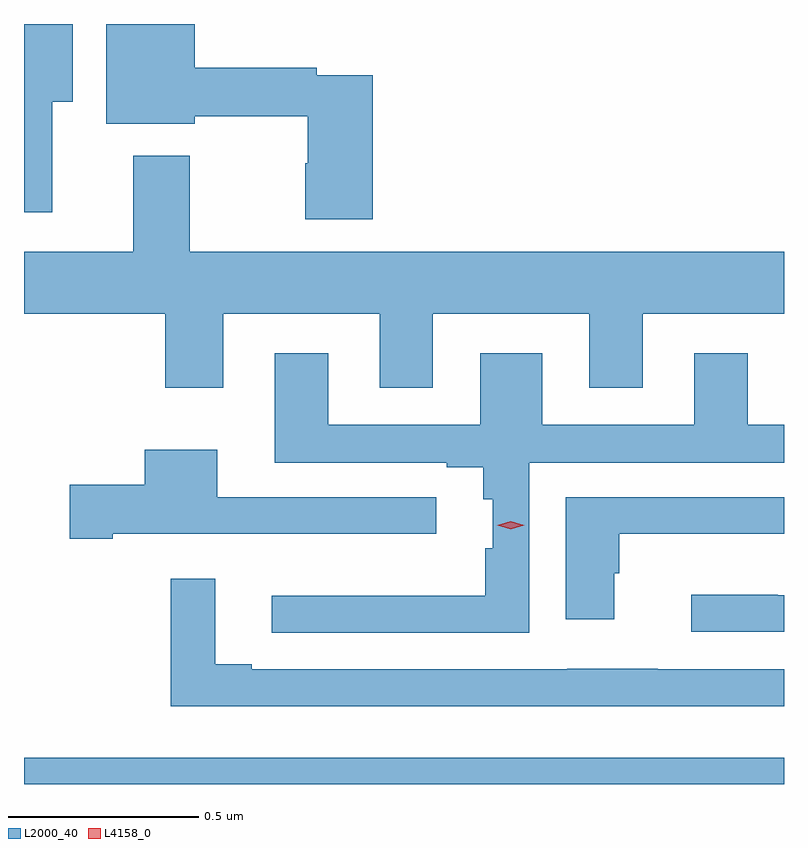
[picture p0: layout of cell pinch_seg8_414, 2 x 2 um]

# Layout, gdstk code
import gdstk
lib = gdstk.Library(unit=1e-6, precision=1e-09)
def R(c, l, rs):  # rectangles x0, y0, x1, y1
    for r in rs: c.add(gdstk.rectangle(r[:2], r[2:], *l))
def P(c, l, *ps):  # polygons
    for p in ps: c.add(gdstk.Polygon(p, *l))
L2000_40 = (2000, 40)
L4158_0 = (4158, 0)

pinch_seg8_414 = lib.new_cell('pinch_seg8_414')
R(pinch_seg8_414, L2000_40, [(589.505,1111.267,591.505,1111.336)])
P(pinch_seg8_414, L2000_40, [(589.579,1113.062),(589.633,1113.062),(589.633,1113.267),(589.505,1113.267),(589.505,1112.772),(589.579,1112.772)],
  [(590.423,1113.132),(590.276,1113.132),(590.276,1113.152),(589.954,1113.152),(589.954,1113.267),(589.721,1113.267),(589.721,1113.005),(589.954,1113.005),(589.954,1113.024),(590.252,1113.024),(590.252,1112.901),(590.245,1112.901),(590.245,1112.753),(590.423,1112.753)],
  [(590.029,1112.504),(590.441,1112.504),(590.441,1112.31),(590.581,1112.31),(590.581,1112.504),(590.993,1112.504),(590.993,1112.31),(591.133,1112.31),(591.133,1112.504),(591.505,1112.504),(591.505,1112.668),(589.941,1112.668),(589.941,1112.92),(589.793,1112.92),(589.793,1112.668),(589.505,1112.668),(589.505,1112.504),(589.877,1112.504),(589.877,1112.31),(590.029,1112.31)],
  [(590.835,1112.112),(591.505,1112.112),(591.505,1112.213),(591.409,1112.213),(591.409,1112.401),(591.269,1112.401),(591.269,1112.213),(590.869,1112.213),(590.869,1112.401),(590.705,1112.401),(590.705,1112.213),(590.305,1112.213),(590.305,1112.401),(590.165,1112.401),(590.165,1112.112),(590.618,1112.112),(590.618,1112.1),(590.714,1112.1),(590.714,1112.016),(590.738,1112.016),(590.738,1111.887),(590.719,1111.887),(590.719,1111.762),(590.157,1111.762),(590.157,1111.665),(590.835,1111.665)],
  [(589.738,1111.926),(590.169,1111.926),(590.169,1111.925),(590.59,1111.925),(590.59,1112.022),(590.014,1112.022),(590.014,1112.146),(589.823,1112.146),(589.823,1112.055),(589.626,1112.055),(589.626,1111.913),(589.738,1111.913)],
  [(591.058,1111.821),(591.071,1111.821),(591.071,1111.925),(591.505,1111.925),(591.505,1112.022),(590.93,1112.022),(590.93,1111.701),(591.058,1111.701)],
  [(591.505,1111.569),(591.173,1111.569),(591.173,1111.57),(590.934,1111.57),(590.934,1111.569),(590.104,1111.569),(590.104,1111.582),(590.008,1111.582),(590.008,1111.807),(589.891,1111.807),(589.891,1111.472),(591.505,1111.472)],
  [(591.505,1111.764),(591.488,1111.764),(591.488,1111.765),(591.261,1111.765),(591.261,1111.668),(591.505,1111.668)])
P(pinch_seg8_414, L4158_0, [(590.786,1111.938),(590.75,1111.948),(590.749,1111.948),(590.75,1111.948),(590.786,1111.958),(590.822,1111.948),(590.822,1111.948),(590.822,1111.948)])

lib.write_gds('pinch_seg8_414.gds')
